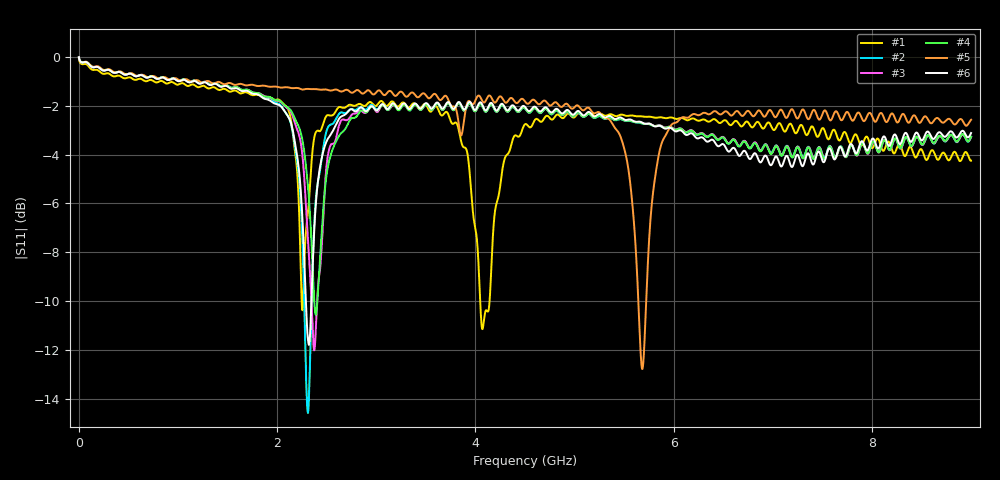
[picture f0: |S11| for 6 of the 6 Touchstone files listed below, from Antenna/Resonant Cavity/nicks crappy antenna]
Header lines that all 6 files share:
# Hz S DB R 50
! CMT, C1209, 21460007, 21.4.4/2
! Data: Format (Calibration Info)
! Freq	S11:dB/Ang(--)
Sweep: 100 kHz to 9 GHz
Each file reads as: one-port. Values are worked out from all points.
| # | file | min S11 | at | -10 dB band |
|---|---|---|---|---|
| 1 | sn2 no fixture.s1p | -11.1 dB | 4.071 GHz | 95.07 MHz wide |
| 2 | sn2 removed impedence matching.s1p | -14.6 dB | 2.31 GHz | 74.57 MHz wide |
| 3 | sn2 shortened cavity attempt 1 no imp matching.s1p | -12.0 dB | 2.373 GHz | 57.75 MHz wide |
| 4 | sn2 shortened cavity attempt 2 no imp matching.s1p | -10.6 dB | 2.389 GHz | 31.8 MHz wide |
| 5 | sn4 no mods resonance is bad 5.8g.s1p | -12.8 dB | 5.684 GHz | 79.24 MHz wide |
| 6 | sn4 removed imp matching touched up connector 5-8g res gone.s1p | -11.8 dB | 2.321 GHz | 56.11 MHz wide |
